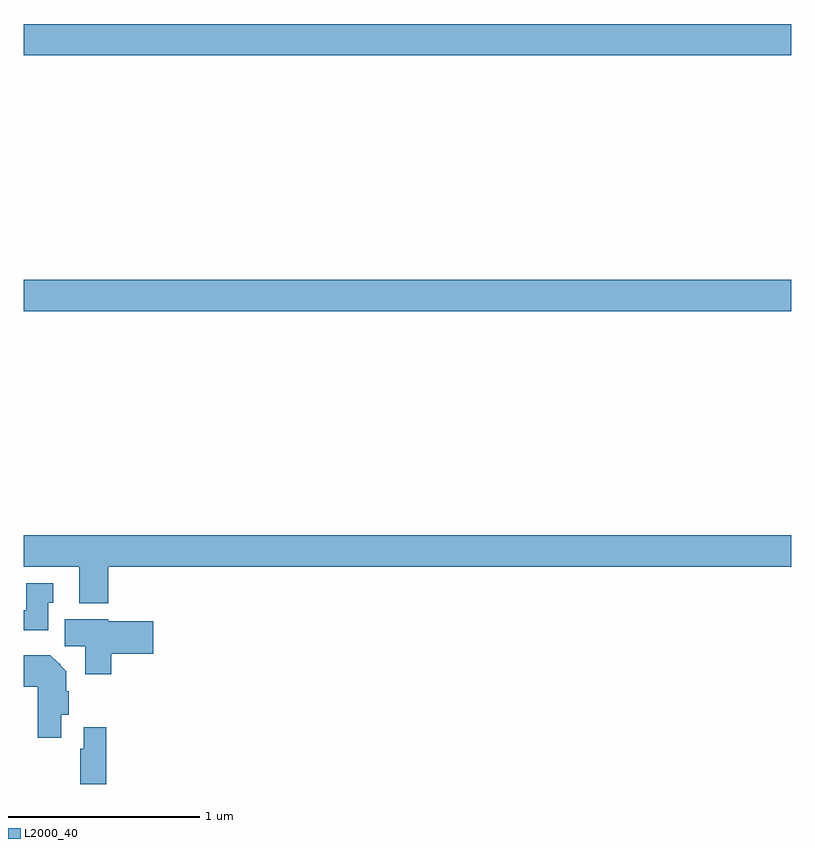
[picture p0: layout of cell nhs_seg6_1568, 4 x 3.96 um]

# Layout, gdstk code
import gdstk
lib = gdstk.Library(unit=1e-6, precision=1e-09)
def R(c, l, rs):  # rectangles x0, y0, x1, y1
    for r in rs: c.add(gdstk.rectangle(r[:2], r[2:], *l))
def P(c, l, *ps):  # polygons
    for p in ps: c.add(gdstk.Polygon(p, *l))
L2000_40 = (2000, 40)

nhs_seg6_1568 = lib.new_cell('nhs_seg6_1568')
R(nhs_seg6_1568, L2000_40, [(205,985.964,209,986.128), (205,987.296,209,987.46)])
P(nhs_seg6_1568, L2000_40, [(205.442,984.632),(209,984.632),(209,984.796),(205,984.796),(205,984.632),(205.289,984.632),(205.289,984.443),(205.442,984.443)],
  [(205.129,984.444),(205.153,984.444),(205.153,984.547),(205.013,984.547),(205.013,984.406),(205,984.406),(205,984.302),(205.129,984.302)],
  [(205.457,984.179),(205.675,984.179),(205.675,984.349),(205.44,984.349),(205.44,984.358),(205.214,984.358),(205.214,984.219),(205.322,984.219),(205.322,984.072),(205.457,984.072)],
  [(205.195,983.862),(205.235,983.862),(205.235,983.984),(205.222,983.984),(205.222,984.087),(205.191,984.118),(205.191,984.126),(205.185,984.126),(205.139,984.172),(205,984.172),(205,984.008),(205.073,984.008),(205.073,983.742),(205.195,983.742)],
  [(205.43,983.797),(205.314,983.797),(205.314,983.684),(205.294,983.684),(205.294,983.5),(205.43,983.5)])

lib.write_gds('nhs_seg6_1568.gds')
